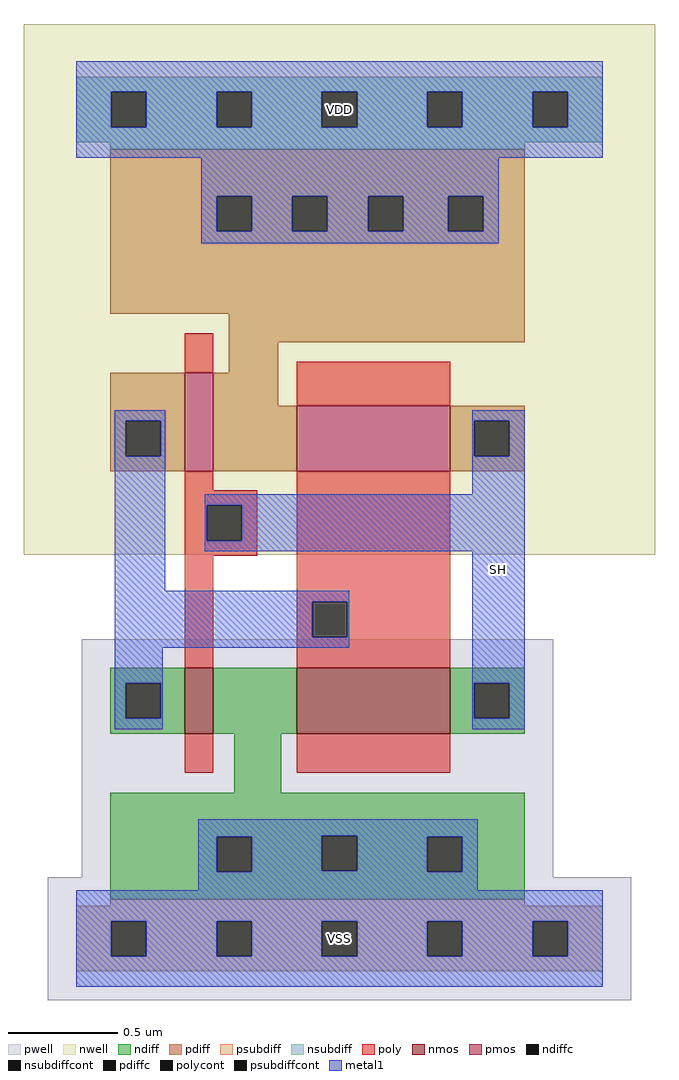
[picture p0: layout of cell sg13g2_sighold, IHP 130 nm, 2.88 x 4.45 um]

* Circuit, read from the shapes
.subckt sg13g2_sighold SH VDD VSS
XM1 VSS SH n1 VSS sg13_lv_nmos w=0.3u l=0.13u
XM2 SH n1 VSS VSS sg13_lv_nmos w=0.3u l=0.7u
XM3 VDD SH n1 VDD sg13_lv_pmos w=0.45u l=0.13u
XM4 SH n1 VDD VDD sg13_lv_pmos w=0.3u l=0.7u
.ends

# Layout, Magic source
magic
tech ihp-sg13g2
magscale 1 2
<< nwell >>
rect -48 350 528 834
<< pwell >>
rect 5 56 435 273
rect -26 -56 506 56
<< nmos >>
rect 99 187 125 247
rect 201 187 341 247
<< pmos >>
rect 99 426 125 516
rect 201 426 341 486
<< ndiff >>
rect 31 233 99 247
rect 31 201 45 233
rect 77 201 99 233
rect 31 187 99 201
rect 125 187 201 247
rect 341 233 409 247
rect 341 201 363 233
rect 395 201 409 233
rect 341 187 409 201
rect 144 133 187 187
rect 31 94 409 133
rect 31 93 224 94
rect 31 61 128 93
rect 160 62 224 93
rect 256 93 409 94
rect 256 62 320 93
rect 160 61 320 62
rect 352 61 409 93
rect 31 36 409 61
<< pdiff >>
rect 31 677 409 720
rect 31 645 128 677
rect 160 645 197 677
rect 229 645 266 677
rect 298 645 339 677
rect 371 645 409 677
rect 31 570 409 645
rect 139 544 409 570
rect 139 516 184 544
rect 31 472 99 516
rect 31 440 45 472
rect 77 440 99 472
rect 31 426 99 440
rect 125 486 184 516
rect 125 426 201 486
rect 341 472 409 486
rect 341 440 363 472
rect 395 440 409 472
rect 341 426 409 440
<< ndiffc >>
rect 45 201 77 233
rect 363 201 395 233
rect 128 61 160 93
rect 224 62 256 94
rect 320 61 352 93
<< pdiffc >>
rect 128 645 160 677
rect 197 645 229 677
rect 266 645 298 677
rect 339 645 371 677
rect 45 440 77 472
rect 363 440 395 472
<< psubdiff >>
rect 31 30 409 36
rect 0 16 480 30
rect 0 -16 32 16
rect 64 -16 128 16
rect 160 -16 224 16
rect 256 -16 320 16
rect 352 -16 416 16
rect 448 -16 480 16
rect 0 -30 480 -16
<< nsubdiff >>
rect 0 772 480 786
rect 0 740 32 772
rect 64 740 128 772
rect 160 740 224 772
rect 256 740 320 772
rect 352 740 416 772
rect 448 740 480 772
rect 0 726 480 740
rect 31 720 409 726
<< psubdiffcont >>
rect 32 -16 64 16
rect 128 -16 160 16
rect 224 -16 256 16
rect 320 -16 352 16
rect 416 -16 448 16
<< nsubdiffcont >>
rect 32 740 64 772
rect 128 740 160 772
rect 224 740 256 772
rect 320 740 352 772
rect 416 740 448 772
<< poly >>
rect 99 516 125 552
rect 201 486 341 526
rect 99 409 125 426
rect 99 395 165 409
rect 99 363 119 395
rect 151 363 165 395
rect 99 349 165 363
rect 99 247 125 349
rect 201 307 341 426
rect 201 275 215 307
rect 247 275 341 307
rect 201 247 341 275
rect 99 151 125 187
rect 201 151 341 187
<< polycont >>
rect 119 363 151 395
rect 215 275 247 307
<< metal1 >>
rect 0 772 480 800
rect 0 740 32 772
rect 64 740 128 772
rect 160 740 224 772
rect 256 740 320 772
rect 352 740 416 772
rect 448 740 480 772
rect 0 712 480 740
rect 114 677 385 712
rect 114 645 128 677
rect 160 645 197 677
rect 229 645 266 677
rect 298 645 339 677
rect 371 645 385 677
rect 114 634 385 645
rect 35 472 81 482
rect 35 440 45 472
rect 77 440 81 472
rect 35 317 81 440
rect 361 472 409 482
rect 361 440 363 472
rect 395 440 409 472
rect 361 405 409 440
rect 117 395 409 405
rect 117 363 119 395
rect 151 363 409 395
rect 117 353 409 363
rect 35 307 249 317
rect 35 275 215 307
rect 247 275 249 307
rect 35 265 249 275
rect 35 233 79 265
rect 35 201 45 233
rect 77 201 79 233
rect 35 191 79 201
rect 361 233 409 353
rect 361 201 363 233
rect 395 201 409 233
rect 361 191 409 201
rect 111 94 366 109
rect 111 93 224 94
rect 111 61 128 93
rect 160 62 224 93
rect 256 93 366 94
rect 256 62 320 93
rect 160 61 320 62
rect 352 61 366 93
rect 111 44 366 61
rect 0 16 480 44
rect 0 -16 32 16
rect 64 -16 128 16
rect 160 -16 224 16
rect 256 -16 320 16
rect 352 -16 416 16
rect 448 -16 480 16
rect 0 -44 480 -16
<< labels >>
flabel metal1 s 361 191 409 482 0 FreeSans 400 0 0 0 SH
port 2 nsew
flabel metal1 s 0 712 480 800 0 FreeSans 400 0 0 0 VDD
port 3 nsew
flabel metal1 s 0 -44 480 44 0 FreeSans 400 0 0 0 VSS
port 4 nsew
<< properties >>
string FIXED_BBOX 0 0 480 756
<< end >>
